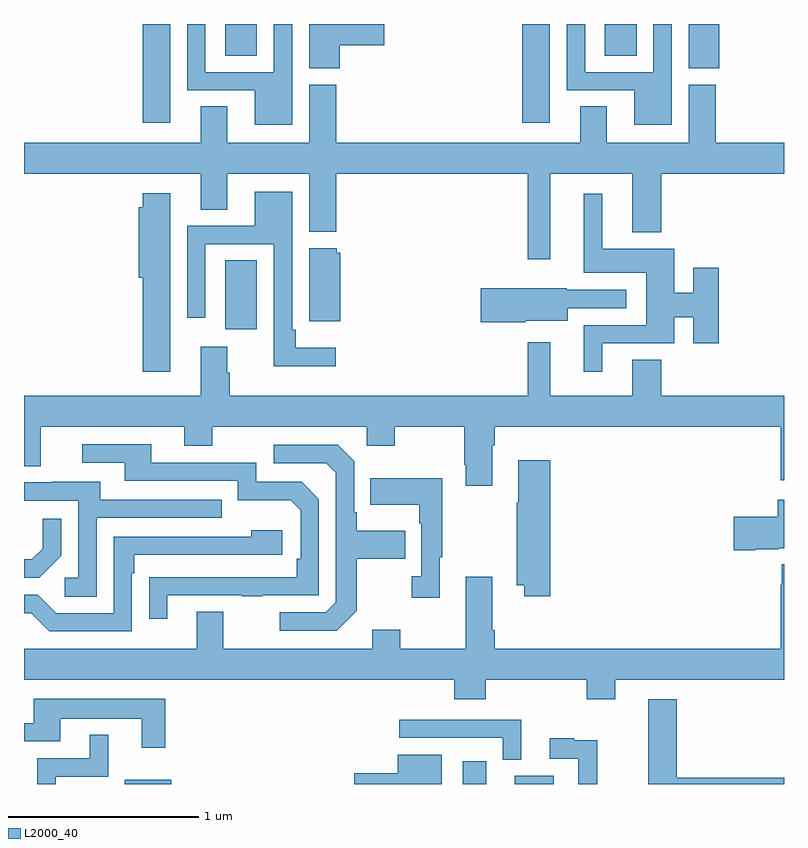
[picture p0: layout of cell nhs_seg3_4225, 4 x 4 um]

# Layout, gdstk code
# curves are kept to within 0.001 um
import gdstk
lib = gdstk.Library(unit=1e-6, precision=1e-09)
def R(c, l, rs):  # rectangles x0, y0, x1, y1
    for r in rs: c.add(gdstk.rectangle(r[:2], r[2:], *l))
def P(c, l, *ps):  # polygons
    for p in ps: c.add(gdstk.Polygon(p, *l))
L2000_40 = (2000, 40)

nhs_seg3_4225 = lib.new_cell('nhs_seg3_4225')
R(nhs_seg3_4225, L2000_40, [(335.531,668.4,335.776,668.422), (337.31,668.4,337.432,668.521), (337.583,668.4,337.789,668.443), (336.059,670.794,336.226,671.156), (335.624,671.88,335.77,672.4), (337.622,671.88,337.768,672.4), (338.498,672.166,338.66,672.4), (336.059,672.232,336.226,672.4), (338.057,672.232,338.224,672.4)])
P(nhs_seg3_4225, L2000_40, [(336.411,672.4),(336.315,672.4),(336.315,672.147),(335.955,672.147),(335.955,672.4),(335.859,672.4),(335.859,672.051),(336.215,672.051),(336.215,671.87),(336.411,671.87)],
  [(336.662,672.287),(336.895,672.287),(336.895,672.4),(336.5,672.4),(336.5,672.166),(336.662,672.166)],
  [(338.409,672.4),(338.313,672.4),(338.313,672.147),(337.953,672.147),(337.953,672.4),(337.857,672.4),(337.857,672.051),(338.213,672.051),(338.213,671.87),(338.409,671.87)],
  [(338.498,672.081),(338.498,671.776),(338.068,671.776),(338.068,671.966),(337.928,671.966),(337.928,671.776),(336.644,671.776),(336.644,672.081),(336.5,672.081),(336.5,671.776),(336.07,671.776),(336.07,671.966),(335.93,671.966),(335.93,671.776),(335,671.776),(335,671.612),(335.93,671.612),(335.93,671.422),(336.07,671.422),(336.07,671.612),(336.5,671.612),(336.5,671.306),(336.644,671.306),(336.644,671.612),(337.65,671.612),(337.65,671.163),(337.771,671.163),(337.771,671.612),(338.201,671.612),(338.201,671.303),(338.354,671.303),(338.354,671.612),(339,671.612),(339,671.776),(338.642,671.776),(338.642,672.081)],
  [(336.64,670.696),(336.431,670.696),(336.431,670.792),(336.411,670.792),(336.411,671.518),(336.215,671.518),(336.215,671.337),(335.859,671.337),(335.859,670.854),(335.955,670.854),(335.955,671.241),(336.315,671.241),(336.315,670.598),(336.64,670.598)],
  [(335.77,671.509),(335.624,671.509),(335.624,671.436),(335.603,671.436),(335.603,671.064),(335.624,671.064),(335.624,670.569),(335.77,670.569)],
  [(338.044,670.719),(338.422,670.719),(338.422,670.857),(338.522,670.857),(338.522,670.719),(338.657,670.719),(338.657,671.116),(338.522,671.116),(338.522,670.985),(338.422,670.985),(338.422,671.218),(338.044,671.218),(338.044,671.506),(337.946,671.506),(337.946,671.09),(338.276,671.09),(338.276,670.815),(337.946,670.815),(337.946,670.569),(338.044,670.569)],
  [(336.664,671.196),(336.645,671.196),(336.645,671.221),(336.5,671.221),(336.5,670.835),(336.664,670.835)],
  [(337.638,670.838),(337.861,670.838),(337.861,670.905),(338.17,670.905),(338.17,671.001),(337.857,671.001),(337.857,671.009),(337.404,671.009),(337.404,670.831),(337.638,670.831)],
  [(337.465,670.184),(337.478,670.184),(337.478,670.28),(338.982,670.28),(338.982,669.999),(339,669.999),(339,670.444),(338.354,670.444),(338.354,670.634),(338.201,670.634),(338.201,670.444),(337.771,670.444),(337.771,670.726),(337.65,670.726),(337.65,670.444),(336.083,670.444),(336.083,670.565),(336.07,670.565),(336.07,670.702),(335.93,670.702),(335.93,670.444),(335,670.444),(335,670.072),(335.089,670.072),(335.089,670.28),(335.843,670.28),(335.843,670.181),(335.991,670.181),(335.991,670.28),(336.804,670.28),(336.804,670.181),(336.951,670.181),(336.951,670.28),(337.318,670.28),(337.318,670.081),(337.325,670.081),(337.325,669.969),(337.465,669.969)],
  [(335.755,669.393),(336.145,669.393),(336.145,669.388),(336.257,669.388),(336.257,669.393),(336.552,669.393),(336.552,669.9),(336.462,669.99),(336.222,669.99),(336.222,670.092),(335.671,670.092),(335.671,670.188),(335.307,670.188),(335.307,670.092),(335.531,670.092),(335.531,669.996),(336.126,669.996),(336.126,669.893),(336.403,669.893),(336.456,669.84),(336.456,669.586),(336.436,669.586),(336.436,669.489),(335.659,669.488),(335.659,669.27),(335.755,669.27)],
  [(336.751,669.313),(336.751,669.586),(337.007,669.586),(337.007,669.733),(336.751,669.733),(336.751,669.829),(336.738,669.829),(336.738,670.098),(336.651,670.185),(336.315,670.185),(336.315,670.089),(336.591,670.089),(336.642,670.038),(336.642,669.357),(336.588,669.303),(336.345,669.303),(336.345,669.207),(336.645,669.207)],
  [(337.769,670.105),(337.601,670.105),(337.601,669.881),(337.594,669.881),(337.594,669.446),(337.634,669.446),(337.634,669.387),(337.769,669.387)],
  [(337.189,669.593),(337.201,669.593),(337.201,670.009),(336.823,670.009),(336.823,669.869),(337.08,669.869),(337.08,669.773),(337.092,669.773),(337.092,669.494),(337.041,669.494),(337.041,669.381),(337.189,669.381)],
  [(335.382,669.801),(336.041,669.801),(336.041,669.897),(335.401,669.897),(335.401,669.991),(335.147,669.991),(335.147,669.987),(335,669.987),(335,669.891),(335.286,669.891),(335.286,669.486),(335.214,669.486),(335.214,669.385),(335.382,669.385)],
  [(338.848,669.635),(338.97,669.635),(338.97,669.641),(339,669.641),(339,669.895),(338.966,669.895),(338.966,669.807),(338.736,669.807),(338.736,669.629),(338.848,669.629)],
  [(335.196,669.602),(335.196,669.796),(335.099,669.796),(335.099,669.639),(335.042,669.582),(335,669.582),(335,669.486),(335.08,669.486)],
  [(335.568,669.509),(335.581,669.509),(335.581,669.606),(336.358,669.606),(336.358,669.736),(336.197,669.736),(336.197,669.702),(335.472,669.702),(335.472,669.3),(335.169,669.3),(335.073,669.396),(335,669.396),(335,669.3),(335.037,669.3),(335.133,669.204),(335.568,669.204)],
  [(337.43,668.948),(337.961,668.948),(337.961,668.846),(338.113,668.846),(338.113,668.948),(339,668.948),(339,669.556),(338.989,669.556),(338.989,669.449),(338.982,669.449),(338.982,669.112),(337.478,669.112),(337.478,669.208),(337.465,669.208),(337.465,669.49),(337.325,669.49),(337.325,669.112),(336.981,669.112),(336.981,669.211),(336.833,669.211),(336.833,669.112),(336.049,669.112),(336.049,669.307),(335.909,669.307),(335.909,669.112),(335,669.112),(335,668.948),(337.265,668.948),(337.265,668.846),(337.43,668.846)],
  [(335.743,668.848),(335.051,668.848),(335.051,668.721),(335,668.721),(335,668.625),(335.191,668.625),(335.191,668.744),(335.621,668.744),(335.621,668.592),(335.743,668.592)],
  [(339,668.432),(338.435,668.432),(338.435,668.845),(338.285,668.845),(338.285,668.4),(339,668.4)],
  [(337.618,668.739),(336.975,668.739),(336.975,668.643),(337.521,668.643),(337.521,668.528),(337.618,668.528)],
  [(335.166,668.439),(335.443,668.439),(335.443,668.659),(335.345,668.659),(335.345,668.535),(335.069,668.535),(335.069,668.4),(335.166,668.4)],
  [(338.018,668.63),(337.895,668.63),(337.895,668.641),(337.767,668.641),(337.767,668.532),(337.917,668.532),(337.917,668.4),(338.018,668.4)],
  [(337.198,668.554),(336.968,668.554),(336.968,668.456),(336.738,668.456),(336.738,668.4),(337.198,668.4)])

lib.write_gds('nhs_seg3_4225.gds')
